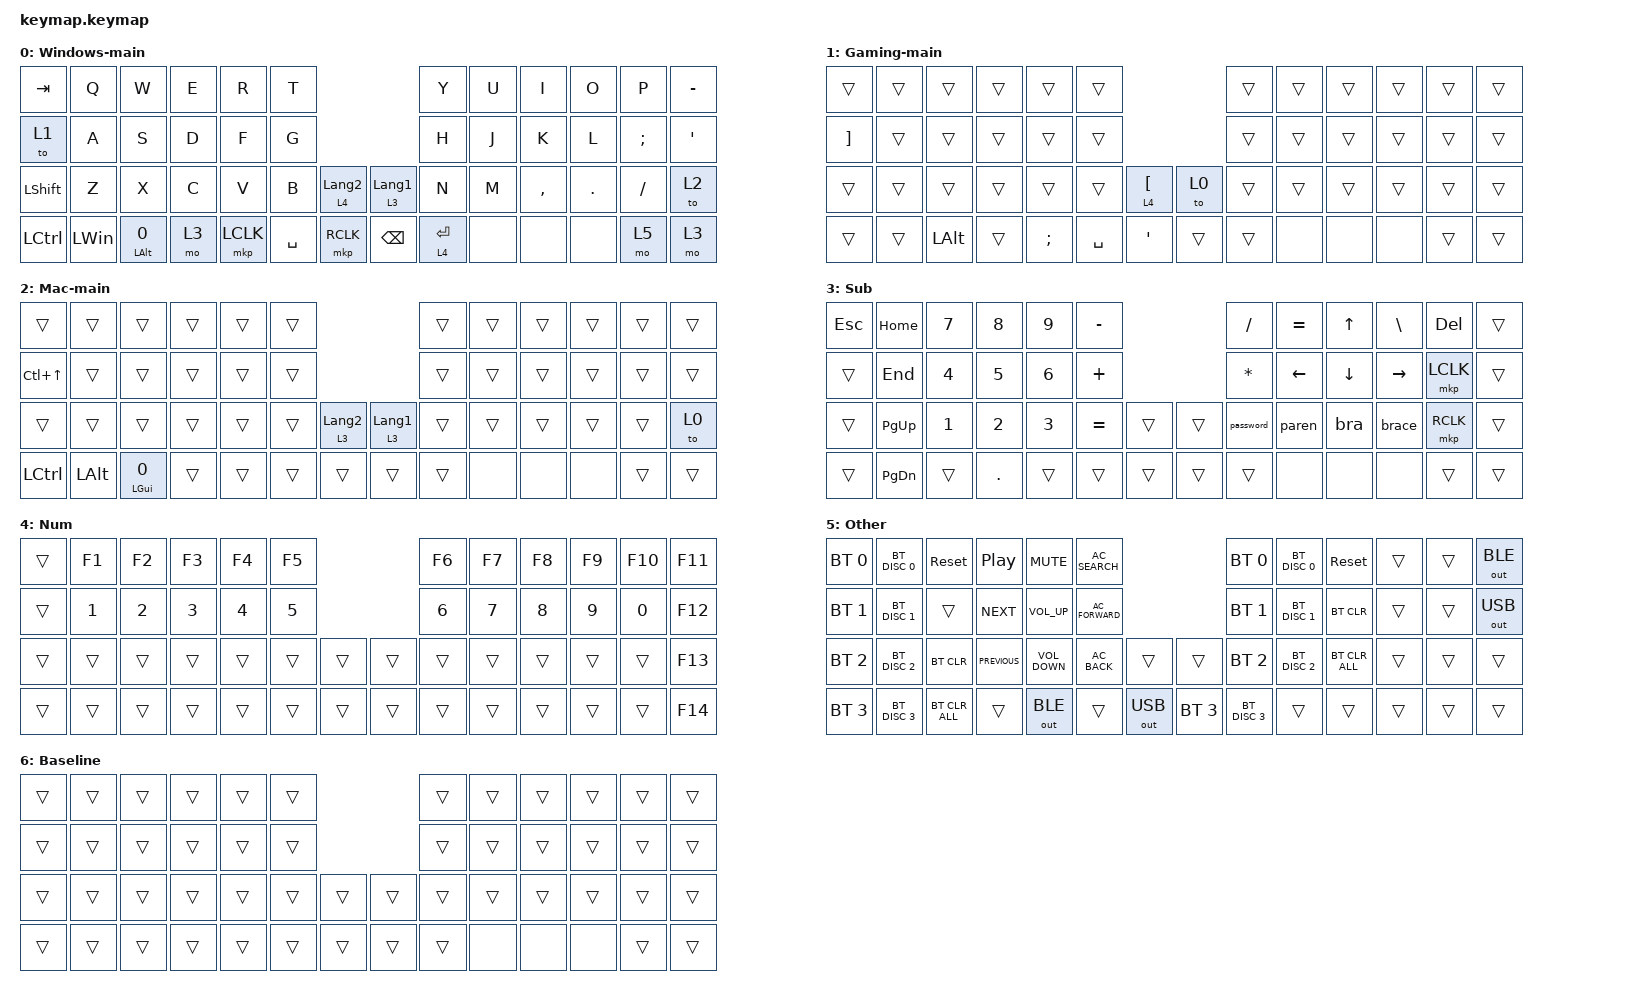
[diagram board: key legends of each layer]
#include <behaviors.dtsi>
#include <dt-bindings/zmk/bt.h>
#include <dt-bindings/zmk/keys.h>
#include <dt-bindings/zmk/outputs.h>
#include <dt-bindings/zmk/pointing.h>

/ {
    combos {
        compatible = "zmk,combos";

        bt_clear {
            bindings = <&bt BT_CLR>;
            key-positions = <16 17>;
            layers = <4>;
        };
    };

    macros {
        password: password {
            compatible = "zmk,behavior-macro";
            #binding-cells = <0>;
            bindings = <&kp N7 &kp N7 &kp N0 &kp N0 &kp N1 &kp N0 &kp N6 &kp N0 &kp N1 &kp N6 &kp G &kp LS(B)>;
        };

        paren: paren-macro {
            compatible = "zmk,behavior-macro";
            #binding-cells = <0>;
            bindings = <&kp LEFT_PARENTHESIS &kp RIGHT_PARENTHESIS>;
        };

        bra: bracket-macro {
            compatible = "zmk,behavior-macro";
            #binding-cells = <0>;
            bindings = <&kp LEFT_BRACKET &kp RIGHT_BRACKET>;
        };

        brace: brace-macro {
            compatible = "zmk,behavior-macro";
            #binding-cells = <0>;
            bindings = <&kp LEFT_BRACE &kp RIGHT_BRACE>;
        };
    };

    keymap {
        compatible = "zmk,keymap";

        Windows-main {
            bindings = <
&kp TAB    &kp Q         &kp W            &kp E  &kp R      &kp T                                          &kp Y        &kp U  &kp I      &kp O    &kp P     &kp MINUS
&to 1      &kp A         &kp S            &kp D  &kp F      &kp G                                          &kp H        &kp J  &kp K      &kp L    &kp SEMI  &kp SINGLE_QUOTE
&kp LSHFT  &kp Z         &kp X            &kp C  &kp V      &kp B      &lt 4 LANGUAGE_2  &lt 3 LANGUAGE_1  &kp N        &kp M  &kp COMMA  &kp DOT  &kp FSLH  &to 2
&kp LCTRL  &kp LEFT_WIN  &mt LEFT_ALT N0  &mo 3  &mkp LCLK  &kp SPACE  &mkp RCLK         &kp BACKSPACE     &lt 4 ENTER  &none  &none      &none    &mo 5     &mo 3
            >;
        };

        Gaming-main {
            bindings = <
&trans             &trans  &trans        &trans  &trans         &trans                                 &trans  &trans  &trans  &trans  &trans  &trans
&kp RIGHT_BRACKET  &trans  &trans        &trans  &trans         &trans                                 &trans  &trans  &trans  &trans  &trans  &trans
&trans             &trans  &trans        &trans  &trans         &trans     &lt 4 LEFT_BRACKET  &to 0   &trans  &trans  &trans  &trans  &trans  &trans
&trans             &trans  &kp LEFT_ALT  &trans  &kp SEMICOLON  &kp SPACE  &kp APOSTROPHE      &trans  &trans  &none   &none   &none   &trans  &trans
            >;
        };

        Mac-main {
            bindings = <
&trans            &trans        &trans           &trans  &trans  &trans                                      &trans  &trans  &trans  &trans  &trans  &trans
&kp LC(UP_ARROW)  &trans        &trans           &trans  &trans  &trans                                      &trans  &trans  &trans  &trans  &trans  &trans
&trans            &trans        &trans           &trans  &trans  &trans  &lt 3 LANGUAGE_2  &lt 3 LANGUAGE_1  &trans  &trans  &trans  &trans  &trans  &to 0
&kp LCTRL         &kp LEFT_ALT  &mt LEFT_GUI N0  &trans  &trans  &trans  &trans            &trans            &trans  &none   &none   &none   &trans  &trans
            >;
        };

        Sub {
            bindings = <
&kp ESCAPE  &kp HOME       &kp NUMBER_7  &kp NUMBER_8  &kp NUMBER_9  &kp MINUS                  &kp SLASH     &kp EQUAL       &kp UP_ARROW    &kp BACKSLASH  &kp DELETE  &trans
&trans      &kp END        &kp NUMBER_4  &kp NUMBER_5  &kp NUMBER_6  &kp PLUS                   &kp ASTERISK  &kp LEFT_ARROW  &kp DOWN_ARROW  &kp RIGHT      &mkp LCLK   &trans
&trans      &kp PAGE_UP    &kp NUMBER_1  &kp NUMBER_2  &kp NUMBER_3  &kp EQUAL  &trans  &trans  &password     &paren          &bra            &brace         &mkp RCLK   &trans
&trans      &kp PAGE_DOWN  &trans        &kp PERIOD    &trans        &trans     &trans  &trans  &trans        &none           &none           &none          &trans      &trans
            >;
        };

        Num {
            bindings = <
&trans  &kp F1        &kp F2        &kp F3        &kp F4        &kp F5                  &kp F6        &kp F7  &kp F8  &kp F9  &kp F10  &kp F11
&trans  &kp NUMBER_1  &kp NUMBER_2  &kp NUMBER_3  &kp NUMBER_4  &kp N5                  &kp NUMBER_6  &kp N7  &kp N8  &kp N9  &kp N0   &kp F12
&trans  &trans        &trans        &trans        &trans        &trans  &trans  &trans  &trans        &trans  &trans  &trans  &trans   &kp F13
&trans  &trans        &trans        &trans        &trans        &trans  &trans  &trans  &trans        &trans  &trans  &trans  &trans   &kp F14
            >;
        };

        Other {
            bindings = <
&bt BT_SEL 0  &bt BT_DISC 0  &sys_reset      &kp C_PLAY_PAUSE  &kp K_MUTE         &kp C_AC_SEARCH                               &bt BT_SEL 0   &bt BT_DISC 0  &sys_reset      &trans  &trans  &out OUT_BLE
&bt BT_SEL 1  &bt BT_DISC 1  &trans          &kp C_NEXT        &kp C_VOLUME_UP    &kp C_AC_FORWARD                              &bt BT_SEL 1   &bt BT_DISC 1  &bt BT_CLR      &trans  &trans  &out OUT_USB
&bt BT_SEL 2  &bt BT_DISC 2  &bt BT_CLR      &kp C_PREVIOUS    &kp C_VOLUME_DOWN  &kp C_AC_BACK     &trans        &trans        &bt BT_SEL 2   &bt BT_DISC 2  &bt BT_CLR_ALL  &trans  &trans  &trans
&bt BT_SEL 3  &bt BT_DISC 3  &bt BT_CLR_ALL  &trans            &out OUT_BLE       &trans            &out OUT_USB  &bt BT_SEL 3  &bt BT_DISC 3  &trans         &trans          &trans  &trans  &trans
            >;
        };

        Baseline {
            bindings = <
&trans  &trans  &trans  &trans  &trans  &trans                  &trans  &trans  &trans  &trans  &trans  &trans
&trans  &trans  &trans  &trans  &trans  &trans                  &trans  &trans  &trans  &trans  &trans  &trans
&trans  &trans  &trans  &trans  &trans  &trans  &trans  &trans  &trans  &trans  &trans  &trans  &trans  &trans
&trans  &trans  &trans  &trans  &trans  &trans  &trans  &trans  &trans  &none   &none   &none   &trans  &trans
            >;
        };
    };
};
